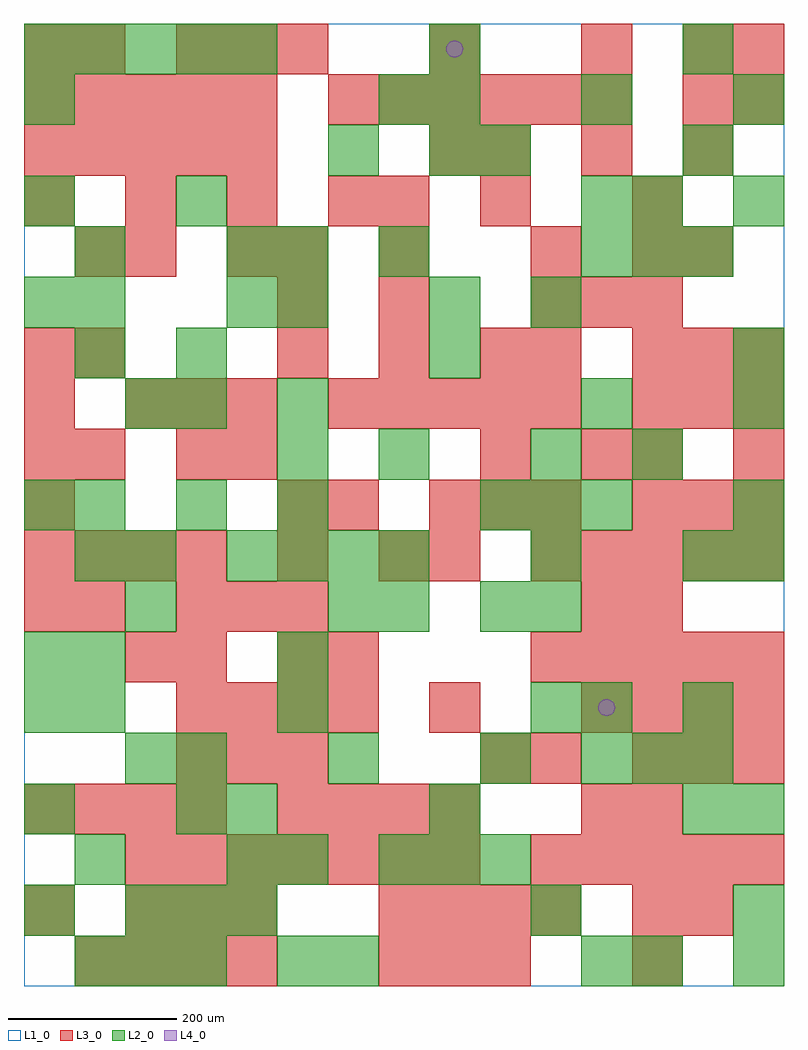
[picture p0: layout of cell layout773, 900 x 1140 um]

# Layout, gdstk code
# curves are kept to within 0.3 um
import gdstk
lib = gdstk.Library(unit=1e-6, precision=1e-09)
def R(c, l, rs):  # rectangles x0, y0, x1, y1
    for r in rs: c.add(gdstk.rectangle(r[:2], r[2:], *l))
def A(c, l, x, y, w, h, nx, ny, dx, dy):  # array of equal rectangles
    R(c, l, [(x+i*dx, y+j*dy, x+i*dx+w, y+j*dy+h) for i in range(nx) for j in range(ny)])
def P(c, l, *ps):  # polygons
    for p in ps: c.add(gdstk.Polygon(p, *l))
L1_0 = (1, 0)
L2_0 = (2, 0)
L3_0 = (3, 0)
L4_0 = (4, 0)

layout773 = lib.new_cell('layout773')
R(layout773, L1_0, [(0,0,900,1140)])
A(layout773, L2_0, 60, 0, 60, 60, 3, 1, 60, 0)
A(layout773, L2_0, 0, 60, 60, 60, 1, 3, 0, 120)
A(layout773, L2_0, 120, 60, 60, 60, 3, 1, 60, 0)
A(layout773, L2_0, 420, 120, 60, 60, 3, 1, 60, 0)
A(layout773, L2_0, 180, 240, 60, 60, 3, 1, 180, 0)
A(layout773, L2_0, 660, 240, 60, 60, 3, 2, 60, 600)
A(layout773, L2_0, 240, 480, 60, 60, 4, 1, 60, 0)
A(layout773, L2_0, 60, 540, 60, 60, 3, 1, 120, 0)
A(layout773, L2_0, 540, 540, 60, 60, 3, 1, 60, 0)
A(layout773, L2_0, 60, 720, 60, 60, 1, 3, 0, 60)
A(layout773, L2_0, 0, 780, 60, 60, 1, 3, 0, 120)
A(layout773, L2_0, 480, 1020, 60, 60, 3, 1, 180, 0)
A(layout773, L2_0, 0, 1080, 60, 60, 5, 1, 60, 0)
R(layout773, L2_0, [(300,0,360,60), (360,0,420,60), (660,0,720,60), (720,0,780,60), (840,0,900,60), (600,60,660,120), (840,60,900,120), (60,120,120,180), (240,120,300,180), (300,120,360,180), (180,180,240,240), (240,180,300,240), (480,180,540,240), (780,180,840,240), (840,180,900,240), (120,240,180,300), (60,300,120,360), (300,300,360,360), (600,300,660,360), (660,300,720,360), (780,300,840,360), (0,360,60,420), (60,360,120,420), (300,360,360,420), (120,420,180,480), (360,420,420,480), (420,420,480,480), (540,420,600,480), (600,420,660,480), (60,480,120,540), (120,480,180,540), (600,480,660,540), (780,480,840,540), (840,480,900,540), (0,540,60,600), (840,540,900,600), (300,600,360,660), (420,600,480,660), (600,600,660,660), (720,600,780,660), (120,660,180,720), (180,660,240,720), (300,660,360,720), (660,660,720,720), (840,660,900,720), (180,720,240,780), (480,720,540,780), (840,720,900,780), (240,780,300,840), (300,780,360,840), (480,780,540,840), (600,780,660,840), (240,840,300,900), (300,840,360,900), (420,840,480,900), (180,900,240,960), (660,900,720,960), (720,900,780,960), (840,900,900,960), (360,960,420,1020), (480,960,540,1020), (540,960,600,1020), (780,960,840,1020), (420,1020,480,1080), (480,1080,540,1140), (780,1080,840,1140)])
A(layout773, L3_0, 60, 0, 60, 60, 4, 1, 60, 0)
A(layout773, L3_0, 420, 0, 60, 60, 3, 1, 60, 0)
A(layout773, L3_0, 120, 60, 60, 60, 3, 2, 60, 600)
A(layout773, L3_0, 420, 60, 60, 60, 4, 1, 60, 0)
A(layout773, L3_0, 120, 120, 60, 60, 7, 1, 60, 0)
A(layout773, L3_0, 600, 120, 60, 60, 5, 2, 60, 240)
A(layout773, L3_0, 0, 180, 60, 60, 4, 2, 60, 300)
A(layout773, L3_0, 300, 180, 60, 60, 4, 1, 60, 0)
A(layout773, L3_0, 180, 240, 60, 60, 3, 2, 60, 180)
A(layout773, L3_0, 720, 240, 60, 60, 3, 2, 60, 300)
A(layout773, L3_0, 180, 300, 60, 60, 4, 1, 60, 0)
A(layout773, L3_0, 660, 300, 60, 60, 4, 1, 60, 0)
A(layout773, L3_0, 600, 480, 60, 60, 5, 1, 60, 0)
A(layout773, L3_0, 0, 540, 60, 60, 1, 4, 0, 60)
A(layout773, L3_0, 480, 540, 60, 60, 3, 1, 60, 0)
A(layout773, L3_0, 60, 600, 60, 60, 1, 3, 0, 120)
A(layout773, L3_0, 360, 660, 60, 60, 5, 1, 60, 0)
A(layout773, L3_0, 720, 660, 60, 60, 3, 2, 60, 60)
A(layout773, L3_0, 300, 720, 60, 60, 3, 1, 120, 0)
A(layout773, L3_0, 420, 780, 60, 60, 1, 3, 0, 60)
A(layout773, L3_0, 600, 780, 60, 60, 3, 1, 60, 0)
A(layout773, L3_0, 0, 900, 60, 60, 4, 1, 120, 0)
A(layout773, L3_0, 0, 960, 60, 60, 5, 2, 60, 60)
A(layout773, L3_0, 540, 960, 60, 60, 3, 1, 120, 0)
A(layout773, L3_0, 360, 1020, 60, 60, 6, 1, 60, 0)
A(layout773, L3_0, 180, 1080, 60, 60, 3, 1, 60, 0)
R(layout773, L3_0, [(720,0,780,60), (0,60,60,120), (720,60,780,120), (780,60,840,120), (660,180,720,240), (720,180,780,240), (540,240,600,300), (600,240,660,300), (480,300,540,360), (120,360,180,420), (180,360,240,420), (300,360,360,420), (360,360,420,420), (0,420,60,480), (60,420,120,480), (660,420,720,480), (720,420,780,480), (300,480,360,540), (420,480,480,540), (480,480,540,540), (300,540,360,600), (360,540,420,600), (180,600,240,660), (240,600,300,660), (540,600,600,660), (660,600,720,660), (720,600,780,660), (840,600,900,660), (600,720,660,780), (300,780,360,840), (120,840,180,900), (240,840,300,900), (300,840,360,900), (600,840,660,900), (720,840,780,900), (780,840,840,900), (540,900,600,960), (720,900,780,960), (480,960,540,1020), (780,1020,840,1080), (840,1020,900,1080), (0,1080,60,1140), (60,1080,120,1140), (480,1080,540,1140), (660,1080,720,1140), (780,1080,840,1140), (840,1080,900,1140)])
P(layout773, L4_0, [(520,1110),(519.239,1113.827),(517.071,1117.071),(513.827,1119.239),(510,1120),(506.173,1119.239),(502.929,1117.071),(500.761,1113.827),(500,1110),(500.761,1106.173),(502.929,1102.929),(506.173,1100.761),(510,1100),(513.827,1100.761),(517.071,1102.929),(519.239,1106.173)],
  [(700,330),(699.239,333.827),(697.071,337.071),(693.827,339.239),(690,340),(686.173,339.239),(682.929,337.071),(680.761,333.827),(680,330),(680.761,326.173),(682.929,322.929),(686.173,320.761),(690,320),(693.827,320.761),(697.071,322.929),(699.239,326.173)])

lib.write_gds('layout773.gds')
